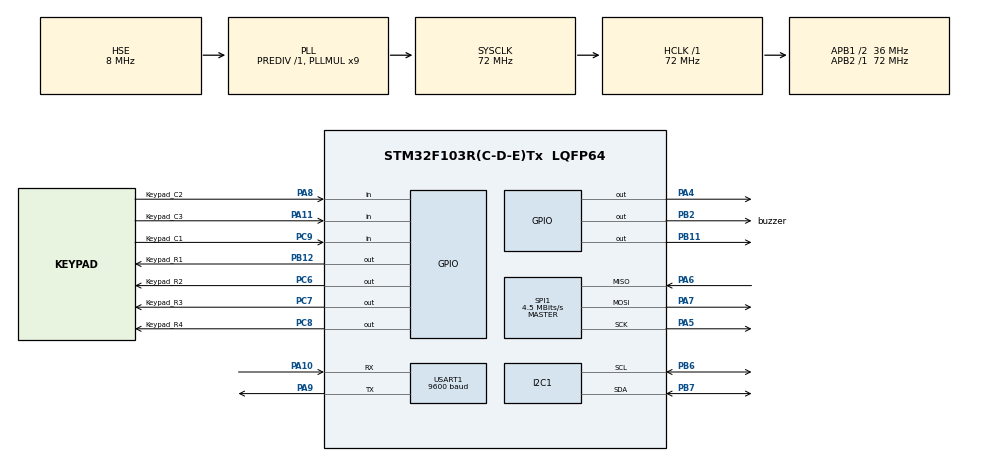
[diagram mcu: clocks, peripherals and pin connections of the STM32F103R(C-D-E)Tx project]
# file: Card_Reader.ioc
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Mcu.Family=STM32F1
Mcu.Name=STM32F103R(C-D-E)Tx
Mcu.Package=LQFP64
NVIC.PriorityGroup=NVIC_PRIORITYGROUP_4
NVIC.TIM4_IRQn=true\:0\:0\:false\:false\:true\:true\:true
NVIC.TIM5_IRQn=true\:0\:0\:false\:false\:true\:true\:true
NVIC.TIM6_IRQn=true\:0\:0\:false\:false\:true\:true\:true
NVIC.TIM7_IRQn=true\:0\:0\:false\:false\:true\:true\:true
PA10.Mode=Asynchronous
PA10.Signal=USART1_RX
PA11.GPIO_Label=Keypad_C3
PA11.GPIO_PuPd=GPIO_PULLUP
PA11.Signal=GPIO_Input
PA13.Mode=JTAG_5_pins
PA13.Signal=SYS_JTMS-SWDIO
PA14.Mode=JTAG_5_pins
PA14.Signal=SYS_JTCK-SWCLK
PA15.Mode=JTAG_5_pins
PA15.Signal=SYS_JTDI
PA4.GPIO_PuPd=GPIO_PULLUP
PA4.GPIO_Speed=GPIO_SPEED_FREQ_HIGH
PA4.Signal=GPIO_Output
PA5.Mode=Full_Duplex_Master
PA5.Signal=SPI1_SCK
PA6.Mode=Full_Duplex_Master
PA6.Signal=SPI1_MISO
PA7.Mode=Full_Duplex_Master
PA7.Signal=SPI1_MOSI
PA8.GPIO_Label=Keypad_C2
PA8.GPIO_PuPd=GPIO_PULLUP
PA8.Signal=GPIO_Input
PA9.Mode=Asynchronous
PA9.Signal=USART1_TX
PB11.Signal=GPIO_Output
PB12.GPIO_Label=Keypad_R1
PB12.GPIO_PuPd=GPIO_PULLUP
PB12.GPIO_Speed=GPIO_SPEED_FREQ_HIGH
PB12.PinState=GPIO_PIN_RESET
PB12.Signal=GPIO_Output
PB2.GPIO_Label=buzzer
PB2.GPIO_PuPd=GPIO_PULLDOWN
PB2.Signal=GPIO_Output
PB3.Mode=JTAG_5_pins
PB3.Signal=SYS_JTDO-TRACESWO
PB4.Mode=JTAG_5_pins
PB4.Signal=SYS_NJTRST
PB6.Mode=I2C
PB6.Signal=I2C1_SCL
PB7.Mode=I2C
PB7.Signal=I2C1_SDA
PC6.GPIO_Label=Keypad_R2
PC6.GPIO_PuPd=GPIO_PULLUP
PC6.GPIO_Speed=GPIO_SPEED_FREQ_HIGH
PC6.Signal=GPIO_Output
PC7.GPIO_Label=Keypad_R3
PC7.GPIO_PuPd=GPIO_PULLUP
PC7.GPIO_Speed=GPIO_SPEED_FREQ_HIGH
PC7.Signal=GPIO_Output
PC8.GPIO_Label=Keypad_R4
PC8.GPIO_PuPd=GPIO_PULLUP
PC8.GPIO_Speed=GPIO_SPEED_FREQ_HIGH
PC8.Signal=GPIO_Output
PC9.GPIO_Label=Keypad_C1
PC9.GPIO_PuPd=GPIO_PULLUP
PC9.Signal=GPIO_Input
PD0-OSC_IN.Mode=HSE-External-Oscillator
PD0-OSC_IN.Signal=RCC_OSC_IN
PD1-OSC_OUT.Mode=HSE-External-Oscillator
PD1-OSC_OUT.Signal=RCC_OSC_OUT
ProjectManager.HeapSize=0x200
ProjectManager.StackSize=0x400
ProjectManager.TargetToolchain=STM32CubeIDE
RCC.AHBFreq_Value=72000000
RCC.APB1CLKDivider=RCC_HCLK_DIV2
RCC.APB1Freq_Value=36000000
RCC.APB1TimFreq_Value=72000000
RCC.APB2Freq_Value=72000000
RCC.APB2TimFreq_Value=72000000
RCC.HCLKFreq_Value=72000000
RCC.PLLMUL=RCC_PLL_MUL9
RCC.PLLSourceVirtual=RCC_PLLSOURCE_HSE
RCC.SYSCLKFreq_VALUE=72000000
RCC.SYSCLKSource=RCC_SYSCLKSOURCE_PLLCLK
RCC.USBFreq_Value=72000000
RTC.Date=25
RTC.Format=RTC_FORMAT_BIN
RTC.Hours=22
RTC.Minutes=11
RTC.Month=RTC_MONTH_DECEMBER
RTC.Seconds=5
RTC.WeekDay=RTC_WEEKDAY_THURSDAY
RTC.Year=19
SPI1.BaudRatePrescaler=SPI_BAUDRATEPRESCALER_16
SPI1.CalculateBaudRate=4.5 MBits/s
SPI1.Direction=SPI_DIRECTION_2LINES
SPI1.Mode=SPI_MODE_MASTER
SPI1.VirtualType=VM_MASTER
TIM4.Period=1000
TIM4.Prescaler=7200
TIM5.Period=6000
TIM5.Prescaler=7200
TIM6.Period=21000
TIM6.Prescaler=7200
TIM7.Period=12000
TIM7.Prescaler=7200
USART1.BaudRate=9600
USART1.VirtualMode=VM_ASYNC
VP_RTC_VS_RTC_Activate.Mode=RTC_Enabled
VP_RTC_VS_RTC_Calendar.Mode=RTC_Calendar
VP_TIM4_VS_ClockSourceINT.Mode=Internal
VP_TIM5_VS_ClockSourceINT.Mode=Internal
VP_TIM6_VS_ClockSourceINT.Mode=Enable_Timer
VP_TIM7_VS_ClockSourceINT.Mode=Enable_Timer
board=custom

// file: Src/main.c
/* USER CODE BEGIN Header */
/**
  ******************************************************************************
  * @file           : main.c
  * @brief          : Main program body
  ******************************************************************************
  * @attention
  *
  * <h2><center>&copy; Copyright (c) 2019 STMicroelectronics.
  * All rights reserved.</center></h2>
  *
  * This software component is licensed by ST under BSD 3-Clause license,
  * the "License"; You may not use this file except in compliance with the
  * License. You may obtain a copy of the License at:
  *                        opensource.org/licenses/BSD-3-Clause
  *
  ******************************************************************************
  */
/* USER CODE END Header */

#include "main.h"

/* USER CODE BEGIN Includes */
#include "i2c-lcd.h"
#include "stm32f1xx_hal.h"
#include "rc522.h"
#include <string.h>
#include <stdio.h>
/* USER CODE END Includes */

/* USER CODE BEGIN PD */
#define R1_PORT Keypad_R1_GPIO_Port
#define R1_PIN Keypad_R1_Pin
#define R2_PORT Keypad_R2_GPIO_Port
#define R2_PIN Keypad_R2_Pin
#define R3_PORT Keypad_R3_GPIO_Port
#define R3_PIN Keypad_R3_Pin
#define R4_PORT Keypad_R4_GPIO_Port
#define R4_PIN Keypad_R4_Pin
#define C1_PORT Keypad_C1_GPIO_Port
#define C1_PIN Keypad_C1_Pin
#define C2_PORT Keypad_C2_GPIO_Port
#define C2_PIN Keypad_C2_Pin
#define C3_PORT Keypad_C3_GPIO_Port
#define C3_PIN Keypad_C3_Pin

/* USER CODE END PD */

I2C_HandleTypeDef hi2c1;

RTC_HandleTypeDef hrtc;

SPI_HandleTypeDef hspi1;

TIM_HandleTypeDef htim4;
TIM_HandleTypeDef htim5;
TIM_HandleTypeDef htim6;
TIM_HandleTypeDef htim7;

UART_HandleTypeDef huart1;

/* USER CODE BEGIN PV */

uint8_t MFRC522_Check(uint8_t* id);
uint8_t MFRC522_Compare(uint8_t* CardID, uint8_t* CompareID);
void MFRC522_WriteRegister(uint8_t addr, uint8_t val);
uint8_t MFRC522_ReadRegister(uint8_t addr);
void MFRC522_SetBitMask(uint8_t reg, uint8_t mask);
void MFRC522_ClearBitMask(uint8_t reg, uint8_t mask);
uint8_t MFRC522_Request(uint8_t reqMode, uint8_t* TagType);
uint8_t MFRC522_ToCard(uint8_t command, uint8_t* sendData, uint8_t sendLen, uint8_t* backData, uint16_t* backLen);
uint8_t MFRC522_Anticoll(uint8_t* serNum);
void MFRC522_CalulateCRC(uint8_t* pIndata, uint8_t len, uint8_t* pOutData);
uint8_t MFRC522_SelectTag(uint8_t* serNum);
uint8_t MFRC522_Auth(uint8_t authMode, uint8_t BlockAddr, uint8_t* Sectorkey, uint8_t* serNum);
uint8_t MFRC522_Read(uint8_t blockAddr, uint8_t* recvData);
uint8_t MFRC522_Write(uint8_t blockAddr, uint8_t* writeData);
void MFRC522_Init(void);
void MFRC522_Reset(void);
void MFRC522_AntennaOn(void);
void MFRC522_AntennaOff(void);
void MFRC522_Halt(void);

/* USER CODE END PV */

void SystemClock_Config(void);
static void MX_GPIO_Init(void);
static void MX_I2C1_Init(void);
static void MX_SPI1_Init(void);
static void MX_RTC_Init(void);
static void MX_TIM4_Init(void);
static void MX_TIM5_Init(void);
static void MX_TIM6_Init(void);
static void MX_TIM7_Init(void);
static void MX_USART1_UART_Init(void);

/* USER CODE BEGIN 0 */

uint8_t key1_test=0;
uint8_t key1=0;
uint8_t key2=0;
uint8_t birakma_flag1 =1;
uint8_t birakma_flag1_flag =0;
uint8_t buton_Deneme=0;
uint8_t ekranayazma(uint8_t datacevir);

uint8_t sifre[]={2,5,8,0,9,6};
uint8_t sifre_lenght=(sizeof(sifre)/sizeof(uint8_t));
uint8_t sifre_test[15];
uint8_t girilentus=0;
uint8_t sifrebitir=0;

void open_door (void);
void close_door(void);
void right_pasword(void);
void wrong_pasword(void);
char read_keypad (void);

uint8_t rfid_flag=1;
unsigned char CardID[5];

RTC_TimeTypeDef sTime;
RTC_DateTypeDef DateToUpdate;

uint16_t gun,ay,yil,saat,dakika,saniye;
char Time_buffer[8];
char line1_buffer[16];
char usart_buffer[50];
uint8_t usart_buffer1[50];

struct kullanici{
unsigned char RFID[5];
char Name[15];
char Surname[15];
char Time[8];
};

/* USER CODE END 0 */

int main(void)
{
  /* USER CODE BEGIN 1 */
struct kullanici kimlik1;

kimlik2.RFID[0]=0x24;
kimlik2.RFID[1]=0x0B;
kimlik2.RFID[2]=0xFF;
kimlik2.RFID[3]=0x62;
kimlik2.RFID[4]=0x7C;
strcpy(kimlik2.Name,"Eren");
strcpy(kimlik2.Surname , "Kaplan");

  /* USER CODE END 1 */

  /* MCU Configuration--------------------------------------------------------*/

  /* Reset of all peripherals, Initializes the Flash interface and the Systick. */
  HAL_Init();

  /* Configure the system clock */
  SystemClock_Config();

  /* Initialize all configured peripherals */
  MX_GPIO_Init();
  MX_I2C1_Init();
  MX_SPI1_Init();
  MX_RTC_Init();
  MX_TIM4_Init();
  MX_TIM5_Init();
  MX_TIM6_Init();
  MX_TIM7_Init();
  MX_USART1_UART_Init();
  /* USER CODE BEGIN 2 */
	MFRC522_Init();
  lcd_init();
	HAL_TIM_Base_Start_IT(&htim4);
  HAL_TIM_Base_Start_IT(&htim5);
	HAL_TIM_Base_Start_IT(&htim7);
	HAL_TIM_Base_Start_IT(&htim6);
	HAL_TIM_Base_Stop(&htim4);
	HAL_TIM_Base_Stop(&htim5);
	HAL_TIM_Base_Stop(&htim7);
	HAL_TIM_Base_Stop(&htim6);

  lcd_send_cmd (0x80|0x00);
  lcd_send_string("Password or Card");

	lcd_send_cmd (0x80|0x40);
  lcd_send_string("PW:");

	HAL_GPIO_WritePin(GPIOB,GPIO_PIN_11,GPIO_PIN_SET);

  /* USER CODE END 2 */

  /* Infinite loop */
  while (1)
  {

    /* USER CODE BEGIN 3 */
if (MFRC522_Check(CardID) == MI_OK)
	{

	if (MFRC522_Compare(CardID, kimlik1.RFID) == MI_OK && rfid_flag==1)
		{

	HAL_RTC_GetTime(&hrtc, &sTime, RTC_FORMAT_BIN);
	HAL_RTC_GetDate(&hrtc, &DateToUpdate, RTC_FORMAT_BIN);

	sprintf(Time_buffer,"%2d/%2d/%2d",sTime.Hours,sTime.Minutes,sTime.Seconds);
  strcpy(kimlik1.Time,Time_buffer);

	sprintf(line1_buffer,"%s %s",kimlik1.Name,kimlik1.Surname);
	lcd_send_cmd (0x80|0x00);
  lcd_send_string("                ");
	lcd_send_cmd (0x80|0x00);
  lcd_send_string(line1_buffer);
	lcd_send_cmd (0x80|0x40);
  lcd_send_string("                ");
	lcd_send_cmd (0x80|0x40);
  lcd_send_string("    WELCOME");

	sprintf(usart_buffer,"%s %s %s\n",kimlik1.Time,kimlik1.Name,kimlik1.Surname);
	for(int i=0;i<=sizeof(usart_buffer);i++){
	usart_buffer1[i]=usart_buffer[i];
	}
  HAL_UART_Transmit(&huart1,usart_buffer1,sizeof(usart_buffer),100);

	rfid_flag=0;
	open_door();
	}

else if  (rfid_flag==1)
	{
	rfid_flag=0;
	lcd_send_cmd (0x80|0x00);
  lcd_send_string("                ");
	lcd_send_cmd (0x80|0x00);
  lcd_send_string(" Undefined Card");
	close_door();
	lcd_send_cmd (0x80|0x40);
  lcd_send_string("                ");
	HAL_TIM_Base_Start(&htim6);
	HAL_TIM_Base_Stop(&htim5);
	}
		}
if(CardID[0]== 0x00){
	rfid_flag=1;
		}
  HAL_Delay(1);

		//2.  KOD

	key1_test=read_keypad();   //tus birakma kontrol
if(key1_test!=0x00 && birakma_flag1_flag == 0){
	HAL_TIM_Base_Start(&htim4);
	HAL_GPIO_WritePin(buzzer_GPIO_Port,buzzer_Pin,GPIO_PIN_SET);
	birakma_flag1_flag =1;
		}
if(birakma_flag1 == 0 && key1_test == 0x00){
	birakma_flag1=1;
	buton_Deneme=1;
	birakma_flag1_flag = 0;
		}
if(key1_test != 0x00 ){
	key1=key1_test;
	key2=ekranayazma(key1);
		}
if(birakma_flag1==1 && key1 == 11 && buton_Deneme == 1)
		{
	buton_Deneme=0;
if(girilentus !=0){
	girilentus--;
		}
for(int i=girilentus; i<=14; i++)
{
	sifre_test[i]=0;
		}
	lcd_send_cmd (0x80|0x44+girilentus);
  lcd_send_string("  ");
	  }
if(birakma_flag1==1 && key1 == 12 && buton_Deneme == 1)
		{
	sifrebitir=1;
		}
if(birakma_flag1==1 && buton_Deneme == 1){
	buton_Deneme=0;
if(key1 == 10 || key1 == 1 || key1 == 2|| key1 == 3 || key1 == 4 || key1 == 5|| key1 == 6 || key1 == 7 || key1 == 8 || key1 == 9){
	sifre_test[girilentus]=key1%10;
	girilentus++;
if(girilentus==1){
	lcd_send_cmd (0x80|0x40);
	lcd_send_string("PW:               ");
		}
	lcd_send_cmd (0x80|0x43+girilentus);
  lcd_send_data(ekranayazma(sifre_test[girilentus-1]));
		}
if(sifrebitir==1){
	sifrebitir=0;
 if(girilentus !=sifre_lenght)
		{
	girilentus=0;
	wrong_pasword();
for(int k=0; k<=14;k++){
	sifre_test[k]=0;
		}
		 }
 else
		{
	girilentus=0;
for(int i=0;i<=sifre_lenght-1;i++){
	if(sifre[i]!=sifre_test[i]){
	wrong_pasword();
for(int k=0; k<=14;k++){
	sifre_test[k]=0;
		}
	i=100;
		}
if(i==sifre_lenght-1){
	right_pasword();
for(int k=0; k<=14;k++){
	sifre_test[k]=0;
			}
				}
					}
				    }
		         	}
		            }
                 }
  /* USER CODE END 3 */
}

void SystemClock_Config(void)
{
  RCC_OscInitTypeDef RCC_OscInitStruct = {0};
  RCC_ClkInitTypeDef RCC_ClkInitStruct = {0};
  RCC_PeriphCLKInitTypeDef PeriphClkInit = {0};

  /** Initializes the CPU, AHB and APB busses clocks
  */
  RCC_OscInitStruct.OscillatorType = RCC_OSCILLATORTYPE_LSI|RCC_OSCILLATORTYPE_HSE;
  RCC_OscInitStruct.HSEState = RCC_HSE_ON;
  RCC_OscInitStruct.HSEPredivValue = RCC_HSE_PREDIV_DIV1;
  RCC_OscInitStruct.HSIState = RCC_HSI_ON;
  RCC_OscInitStruct.LSIState = RCC_LSI_ON;
  RCC_OscInitStruct.PLL.PLLState = RCC_PLL_ON;
  RCC_OscInitStruct.PLL.PLLSource = RCC_PLLSOURCE_HSE;
  RCC_OscInitStruct.PLL.PLLMUL = RCC_PLL_MUL9;
  if (HAL_RCC_OscConfig(&RCC_OscInitStruct) != HAL_OK)
  {
    Error_Handler();
  }
  /** Initializes the CPU, AHB and APB busses clocks
  */
  RCC_ClkInitStruct.ClockType = RCC_CLOCKTYPE_HCLK|RCC_CLOCKTYPE_SYSCLK
                              |RCC_CLOCKTYPE_PCLK1|RCC_CLOCKTYPE_PCLK2;
  RCC_ClkInitStruct.SYSCLKSource = RCC_SYSCLKSOURCE_PLLCLK;
  RCC_ClkInitStruct.AHBCLKDivider = RCC_SYSCLK_DIV1;
  RCC_ClkInitStruct.APB1CLKDivider = RCC_HCLK_DIV2;
  RCC_ClkInitStruct.APB2CLKDivider = RCC_HCLK_DIV1;

  if (HAL_RCC_ClockConfig(&RCC_ClkInitStruct, FLASH_LATENCY_2) != HAL_OK)
  {
    Error_Handler();
  }
  PeriphClkInit.PeriphClockSelection = RCC_PERIPHCLK_RTC;
  PeriphClkInit.RTCClockSelection = RCC_RTCCLKSOURCE_LSI;
  if (HAL_RCCEx_PeriphCLKConfig(&PeriphClkInit) != HAL_OK)
  {
    Error_Handler();
  }
}

static void MX_I2C1_Init(void)
{

  hi2c1.Instance = I2C1;
  hi2c1.Init.ClockSpeed = 100000;
  hi2c1.Init.DutyCycle = I2C_DUTYCYCLE_2;
  hi2c1.Init.OwnAddress1 = 0;
  hi2c1.Init.AddressingMode = I2C_ADDRESSINGMODE_7BIT;
  hi2c1.Init.DualAddressMode = I2C_DUALADDRESS_DISABLE;
  hi2c1.Init.OwnAddress2 = 0;
  hi2c1.Init.GeneralCallMode = I2C_GENERALCALL_DISABLE;
  hi2c1.Init.NoStretchMode = I2C_NOSTRETCH_DISABLE;
  if (HAL_I2C_Init(&hi2c1) != HAL_OK)
  {
    Error_Handler();
  }

}

static void MX_RTC_Init(void)
{

  RTC_TimeTypeDef sTime = {0};
  RTC_DateTypeDef DateToUpdate = {0};

  /** Initialize RTC Only
  */
  hrtc.Instance = RTC;
  hrtc.Init.AsynchPrediv = RTC_AUTO_1_SECOND;
  hrtc.Init.OutPut = RTC_OUTPUTSOURCE_ALARM;
  if (HAL_RTC_Init(&hrtc) != HAL_OK)
  {
    Error_Handler();
  }

  /* USER CODE BEGIN Check_RTC_BKUP */
if(HAL_RTCEx_BKUPRead(&hrtc, RTC_BKP_DR1)== 0x32F2){
  return;
}
  /* USER CODE END Check_RTC_BKUP */

  /** Initialize RTC and set the Time and Date
  */
  sTime.Hours = 22;
  sTime.Minutes = 11;
  sTime.Seconds = 5;

  if (HAL_RTC_SetTime(&hrtc, &sTime, RTC_FORMAT_BIN) != HAL_OK)
  {
    Error_Handler();
  }
  DateToUpdate.WeekDay = RTC_WEEKDAY_THURSDAY;
  DateToUpdate.Month = RTC_MONTH_DECEMBER;
  DateToUpdate.Date = 25;
  DateToUpdate.Year = 19;

  if (HAL_RTC_SetDate(&hrtc, &DateToUpdate, RTC_FORMAT_BIN) != HAL_OK)
  {
    Error_Handler();
  }
  /* USER CODE BEGIN RTC_Init 2 */
HAL_RTCEx_BKUPWrite(&hrtc, RTC_BKP_DR1, 0x32F2);
  /* USER CODE END RTC_Init 2 */

}

static void MX_SPI1_Init(void)
{

  /* SPI1 parameter configuration*/
  hspi1.Instance = SPI1;
  hspi1.Init.Mode = SPI_MODE_MASTER;
  hspi1.Init.Direction = SPI_DIRECTION_2LINES;
  hspi1.Init.DataSize = SPI_DATASIZE_8BIT;
  hspi1.Init.CLKPolarity = SPI_POLARITY_LOW;
  hspi1.Init.CLKPhase = SPI_PHASE_1EDGE;
  hspi1.Init.NSS = SPI_NSS_SOFT;
  hspi1.Init.BaudRatePrescaler = SPI_BAUDRATEPRESCALER_16;
  hspi1.Init.FirstBit = SPI_FIRSTBIT_MSB;
  hspi1.Init.TIMode = SPI_TIMODE_DISABLE;
  hspi1.Init.CRCCalculation = SPI_CRCCALCULATION_DISABLE;
  hspi1.Init.CRCPolynomial = 10;
  if (HAL_SPI_Init(&hspi1) != HAL_OK)
  {
    Error_Handler();
  }

}

static void MX_TIM4_Init(void)
{

  TIM_ClockConfigTypeDef sClockSourceConfig = {0};
  TIM_MasterConfigTypeDef sMasterConfig = {0};

  htim4.Instance = TIM4;
  htim4.Init.Prescaler = 7200;
  htim4.Init.CounterMode = TIM_COUNTERMODE_UP;
  htim4.Init.Period = 1000;
  htim4.Init.ClockDivision = TIM_CLOCKDIVISION_DIV1;
  htim4.Init.AutoReloadPreload = TIM_AUTORELOAD_PRELOAD_DISABLE;
  if (HAL_TIM_Base_Init(&htim4) != HAL_OK)
  {
    Error_Handler();
  }
  sClockSourceConfig.ClockSource = TIM_CLOCKSOURCE_INTERNAL;
  if (HAL_TIM_ConfigClockSource(&htim4, &sClockSourceConfig) != HAL_OK)
  {
    Error_Handler();
  }
  sMasterConfig.MasterOutputTrigger = TIM_TRGO_RESET;
  sMasterConfig.MasterSlaveMode = TIM_MASTERSLAVEMODE_DISABLE;
  if (HAL_TIMEx_MasterConfigSynchronization(&htim4, &sMasterConfig) != HAL_OK)
  {
    Error_Handler();
  }
  /* USER CODE BEGIN TIM4_Init 2 */
HAL_TIM_Base_Stop(&htim4);
  /* USER CODE END TIM4_Init 2 */

}

static void MX_TIM5_Init(void)
{

  TIM_ClockConfigTypeDef sClockSourceConfig = {0};
  TIM_MasterConfigTypeDef sMasterConfig = {0};

  htim5.Instance = TIM5;
  htim5.Init.Prescaler = 7200;
  htim5.Init.CounterMode = TIM_COUNTERMODE_UP;
  htim5.Init.Period = 6000;
  htim5.Init.ClockDivision = TIM_CLOCKDIVISION_DIV1;
  htim5.Init.AutoReloadPreload = TIM_AUTORELOAD_PRELOAD_DISABLE;
  if (HAL_TIM_Base_Init(&htim5) != HAL_OK)
  {
    Error_Handler();
  }
  sClockSourceConfig.ClockSource = TIM_CLOCKSOURCE_INTERNAL;
  if (HAL_TIM_ConfigClockSource(&htim5, &sClockSourceConfig) != HAL_OK)
  {
    Error_Handler();
  }
  sMasterConfig.MasterOutputTrigger = TIM_TRGO_RESET;
  sMasterConfig.MasterSlaveMode = TIM_MASTERSLAVEMODE_DISABLE;
  if (HAL_TIMEx_MasterConfigSynchronization(&htim5, &sMasterConfig) != HAL_OK)
  {
    Error_Handler();
  }
  /* USER CODE BEGIN TIM5_Init 2 */
  HAL_TIM_Base_Stop(&htim5);
  /* USER CODE END TIM5_Init 2 */

}

static void MX_TIM6_Init(void)
{

  TIM_MasterConfigTypeDef sMasterConfig = {0};

  htim6.Instance = TIM6;
  htim6.Init.Prescaler = 7200;
  htim6.Init.CounterMode = TIM_COUNTERMODE_UP;
  htim6.Init.Period = 21000;
  htim6.Init.AutoReloadPreload = TIM_AUTORELOAD_PRELOAD_DISABLE;
  if (HAL_TIM_Base_Init(&htim6) != HAL_OK)
  {
    Error_Handler();
  }
  sMasterConfig.MasterOutputTrigger = TIM_TRGO_RESET;
  sMasterConfig.MasterSlaveMode = TIM_MASTERSLAVEMODE_DISABLE;
  if (HAL_TIMEx_MasterConfigSynchronization(&htim6, &sMasterConfig) != HAL_OK)
  {
    Error_Handler();
  }

}

static void MX_TIM7_Init(void)
{

  TIM_MasterConfigTypeDef sMasterConfig = {0};

  htim7.Instance = TIM7;
  htim7.Init.Prescaler = 7200;
  htim7.Init.CounterMode = TIM_COUNTERMODE_UP;
  htim7.Init.Period = 12000;
  htim7.Init.AutoReloadPreload = TIM_AUTORELOAD_PRELOAD_DISABLE;
  if (HAL_TIM_Base_Init(&htim7) != HAL_OK)
  {
    Error_Handler();
  }
  sMasterConfig.MasterOutputTrigger = TIM_TRGO_RESET;
  sMasterConfig.MasterSlaveMode = TIM_MASTERSLAVEMODE_DISABLE;
  if (HAL_TIMEx_MasterConfigSynchronization(&htim7, &sMasterConfig) != HAL_OK)
  {
    Error_Handler();
  }

}

static void MX_USART1_UART_Init(void)
{

  huart1.Instance = USART1;
  huart1.Init.BaudRate = 9600;
  huart1.Init.WordLength = UART_WORDLENGTH_8B;
  huart1.Init.StopBits = UART_STOPBITS_1;
  huart1.Init.Parity = UART_PARITY_NONE;
  huart1.Init.Mode = UART_MODE_TX_RX;
  huart1.Init.HwFlowCtl = UART_HWCONTROL_NONE;
  huart1.Init.OverSampling = UART_OVERSAMPLING_16;
  if (HAL_UART_Init(&huart1) != HAL_OK)
  {
    Error_Handler();
  }

}

static void MX_GPIO_Init(void)
{
  GPIO_InitTypeDef GPIO_InitStruct = {0};

  /* GPIO Ports Clock Enable */
  __HAL_RCC_GPIOD_CLK_ENABLE();
  __HAL_RCC_GPIOA_CLK_ENABLE();
  __HAL_RCC_GPIOB_CLK_ENABLE();
  __HAL_RCC_GPIOC_CLK_ENABLE();

  /*Configure GPIO pin Output Level */
  HAL_GPIO_WritePin(GPIOA, GPIO_PIN_4, GPIO_PIN_RESET);

  /*Configure GPIO pin Output Level */
  HAL_GPIO_WritePin(GPIOB, buzzer_Pin|GPIO_PIN_11|Keypad_R1_Pin, GPIO_PIN_RESET);

  /*Configure GPIO pin Output Level */
  HAL_GPIO_WritePin(GPIOC, Keypad_R2_Pin|Keypad_R3_Pin|Keypad_R4_Pin, GPIO_PIN_RESET);

  /*Configure GPIO pin : PA4 */
  GPIO_InitStruct.Pin = GPIO_PIN_4;
  GPIO_InitStruct.Mode = GPIO_MODE_OUTPUT_PP;
  GPIO_InitStruct.Pull = GPIO_PULLUP;
  GPIO_InitStruct.Speed = GPIO_SPEED_FREQ_HIGH;
  HAL_GPIO_Init(GPIOA, &GPIO_InitStruct);

  /*Configure GPIO pin : buzzer_Pin */
  GPIO_InitStruct.Pin = buzzer_Pin;
  GPIO_InitStruct.Mode = GPIO_MODE_OUTPUT_PP;
  GPIO_InitStruct.Pull = GPIO_PULLDOWN;
  GPIO_InitStruct.Speed = GPIO_SPEED_FREQ_LOW;
  HAL_GPIO_Init(buzzer_GPIO_Port, &GPIO_InitStruct);

  /*Configure GPIO pin : PB11 */
  GPIO_InitStruct.Pin = GPIO_PIN_11;
  GPIO_InitStruct.Mode = GPIO_MODE_OUTPUT_PP;
  GPIO_InitStruct.Pull = GPIO_NOPULL;
  GPIO_InitStruct.Speed = GPIO_SPEED_FREQ_LOW;
  HAL_GPIO_Init(GPIOB, &GPIO_InitStruct);

  /*Configure GPIO pin : Keypad_R1_Pin */
  GPIO_InitStruct.Pin = Keypad_R1_Pin;
  GPIO_InitStruct.Mode = GPIO_MODE_OUTPUT_PP;
  GPIO_InitStruct.Pull = GPIO_PULLUP;
  GPIO_InitStruct.Speed = GPIO_SPEED_FREQ_HIGH;
  HAL_GPIO_Init(Keypad_R1_GPIO_Port, &GPIO_InitStruct);

  /*Configure GPIO pins : Keypad_R2_Pin Keypad_R3_Pin Keypad_R4_Pin */
  GPIO_InitStruct.Pin = Keypad_R2_Pin|Keypad_R3_Pin|Keypad_R4_Pin;
  GPIO_InitStruct.Mode = GPIO_MODE_OUTPUT_PP;
  GPIO_InitStruct.Pull = GPIO_PULLUP;
  GPIO_InitStruct.Speed = GPIO_SPEED_FREQ_HIGH;
  HAL_GPIO_Init(GPIOC, &GPIO_InitStruct);

  /*Configure GPIO pin : Keypad_C1_Pin */
  GPIO_InitStruct.Pin = Keypad_C1_Pin;
  GPIO_InitStruct.Mode = GPIO_MODE_INPUT;
  GPIO_InitStruct.Pull = GPIO_PULLUP;
  HAL_GPIO_Init(Keypad_C1_GPIO_Port, &GPIO_InitStruct);

  /*Configure GPIO pins : Keypad_C2_Pin Keypad_C3_Pin */
  GPIO_InitStruct.Pin = Keypad_C2_Pin|Keypad_C3_Pin;
  GPIO_InitStruct.Mode = GPIO_MODE_INPUT;
  GPIO_InitStruct.Pull = GPIO_PULLUP;
  HAL_GPIO_Init(GPIOA, &GPIO_InitStruct);

}

/* USER CODE BEGIN 4 */
void right_pasword(void){
	HAL_GPIO_WritePin(GPIOB,GPIO_PIN_11,GPIO_PIN_RESET);

  lcd_send_cmd (0x80|0x00);
  lcd_send_string("                ");
	lcd_send_cmd (0x80|0x00);
  lcd_send_string("Correct Password");
	lcd_send_cmd (0x80|0x40);
  lcd_send_string("                ");
	HAL_GPIO_WritePin(buzzer_GPIO_Port,buzzer_Pin,GPIO_PIN_SET);
	HAL_TIM_Base_Start(&htim6);
  HAL_TIM_Base_Start(&htim5);

	HAL_RTC_GetTime(&hrtc, &sTime, RTC_FORMAT_BIN);

	sprintf(usart_buffer,"%2d/%2d/%2d Correct Pasword\n",sTime.Hours,sTime.Minutes,sTime.Seconds);
	for(int i=0;i<=sizeof(usart_buffer);i++){
	usart_buffer1[i]=usart_buffer[i];
	}
  HAL_UART_Transmit(&huart1,usart_buffer1,sizeof(usart_buffer),100);
}
void wrong_pasword(void){
	HAL_GPIO_WritePin(GPIOB,GPIO_PIN_11,GPIO_PIN_SET);

	lcd_send_cmd (0x80|0x00);
  lcd_send_string("                ");
	lcd_send_cmd (0x80|0x00);
  lcd_send_string(" Wrong Password");
	lcd_send_cmd (0x80|0x40);
  lcd_send_string("                ");

	HAL_TIM_Base_Start(&htim7);
	HAL_TIM_Base_Start(&htim6);
	HAL_GPIO_WritePin(buzzer_GPIO_Port,buzzer_Pin,GPIO_PIN_SET);

	HAL_RTC_GetTime(&hrtc, &sTime, RTC_FORMAT_BIN);
	HAL_RTC_GetDate(&hrtc, &DateToUpdate, RTC_FORMAT_BIN);
	sprintf(usart_buffer,"%2d/%2d/%2d Wrong Pasword\n",sTime.Hours,sTime.Minutes,sTime.Seconds);
	for(int i=0;i<=sizeof(usart_buffer);i++){
	usart_buffer1[i]=usart_buffer[i];
	}
  HAL_UART_Transmit(&huart1,usart_buffer1,sizeof(usart_buffer),100);
}
void open_door (void){
	HAL_TIM_Base_Start(&htim6);
  HAL_GPIO_WritePin(GPIOB,GPIO_PIN_11,GPIO_PIN_RESET);

	HAL_TIM_Base_Start(&htim5);
	HAL_GPIO_WritePin(buzzer_GPIO_Port,buzzer_Pin,GPIO_PIN_SET);

	for(int i=0; i<=14; i++)
	{
	 sifre_test[i]=0;
	}
	girilentus=0;
}

void close_door(void){

HAL_GPIO_WritePin(GPIOB,GPIO_PIN_11,GPIO_PIN_SET);
HAL_TIM_Base_Start(&htim7);
HAL_GPIO_WritePin(buzzer_GPIO_Port,buzzer_Pin,GPIO_PIN_SET);

	HAL_RTC_GetTime(&hrtc, &sTime, RTC_FORMAT_BIN);
	HAL_RTC_GetDate(&hrtc, &DateToUpdate, RTC_FORMAT_BIN);
	sprintf(usart_buffer,"%2d/%2d/%2d Undefined Card\n",sTime.Hours,sTime.Minutes,sTime.Seconds);
	for(int i=0;i<=sizeof(usart_buffer);i++){
	usart_buffer1[i]=usart_buffer[i];
	}
  HAL_UART_Transmit(&huart1,usart_buffer1,sizeof(usart_buffer),100);
	for(int i=0; i<=14; i++)
	{
	sifre_test[i]=0;
	}
	girilentus=0;
}
uint8_t ekranayazma(uint8_t datacevir){

if(datacevir==1){
return '1';
}
if(datacevir==2){
return '2';
}
if(datacevir==3){
return '3';
}
	if(datacevir==4){
return '4';
}
	if(datacevir==5){
return '5';
}
	if(datacevir==6){
return '6';
}
	if(datacevir==7){
return '7';
}
	if(datacevir==8){
return '8';
}
	if(datacevir==9){
return '9';
}
	if(datacevir==0){
return '0';
}
	else
	{
	return 0;
	}
}

char read_keypad (void)
	{
	/* Make ROW 1 LOW and all other ROWs HIGH */
	HAL_GPIO_WritePin (R1_PORT, R1_PIN, GPIO_PIN_RESET);  //Pull the R1 low
	HAL_GPIO_WritePin (R2_PORT, R2_PIN, GPIO_PIN_SET);  // Pull the R2 High
	HAL_GPIO_WritePin (R3_PORT, R3_PIN, GPIO_PIN_SET);  // Pull the R3 High
	HAL_GPIO_WritePin (R4_PORT, R4_PIN, GPIO_PIN_SET);  // Pull the R4 High

	if (!(HAL_GPIO_ReadPin (C1_PORT, C1_PIN)))   // if the Col 1 is low
	{
		birakma_flag1=0;
		return 1;
	}

	if (!(HAL_GPIO_ReadPin (C2_PORT, C2_PIN)))   // if the Col 2 is low
	{
		birakma_flag1=0;
		return 2;
	}

	if (!(HAL_GPIO_ReadPin (C3_PORT, C3_PIN)))   // if the Col 3 is low
	{
		birakma_flag1=0;
		return 3;
	}

	/* Make ROW 2 LOW and all other ROWs HIGH */
	HAL_GPIO_WritePin (R1_PORT, R1_PIN, GPIO_PIN_SET);  //Pull the R1 low
	HAL_GPIO_WritePin (R2_PORT, R2_PIN, GPIO_PIN_RESET);  // Pull the R2 High
	HAL_GPIO_WritePin (R3_PORT, R3_PIN, GPIO_PIN_SET);  // Pull the R3 High
	HAL_GPIO_WritePin (R4_PORT, R4_PIN, GPIO_PIN_SET);  // Pull the R4 High

	if (!(HAL_GPIO_ReadPin (C1_PORT, C1_PIN)))   // if the Col 1 is low
	{
		birakma_flag1=0;
		return 4;
	}

	if (!(HAL_GPIO_ReadPin (C2_PORT, C2_PIN)))   // if the Col 2 is low
	{
		birakma_flag1=0;
		return 5;
	}

	if (!(HAL_GPIO_ReadPin (C3_PORT, C3_PIN)))   // if the Col 3 is low
	{
		birakma_flag1=0;
		return 6;
	}

	/* Make ROW 3 LOW and all other ROWs HIGH */
	HAL_GPIO_WritePin (R1_PORT, R1_PIN, GPIO_PIN_SET);  //Pull the R1 low
	HAL_GPIO_WritePin (R2_PORT, R2_PIN, GPIO_PIN_SET);  // Pull the R2 High
	HAL_GPIO_WritePin (R3_PORT, R3_PIN, GPIO_PIN_RESET);  // Pull the R3 High
	HAL_GPIO_WritePin (R4_PORT, R4_PIN, GPIO_PIN_SET);  // Pull the R4 High

	if (!(HAL_GPIO_ReadPin (C1_PORT, C1_PIN)))   // if the Col 1 is low
	{
		birakma_flag1=0;
		return 7;
	}

	if (!(HAL_GPIO_ReadPin (C2_PORT, C2_PIN)))   // if the Col 2 is low
	{
		birakma_flag1=0;
		return 8;
	}

	if (!(HAL_GPIO_ReadPin (C3_PORT, C3_PIN)))   // if the Col 3 is low
	{
		birakma_flag1=0;
		return 9;
	}

	/* Make ROW 4 LOW and all other ROWs HIGH */
	HAL_GPIO_WritePin (R1_PORT, R1_PIN, GPIO_PIN_SET);  //Pull the R1 low
	HAL_GPIO_WritePin (R2_PORT, R2_PIN, GPIO_PIN_SET);  // Pull the R2 High
	HAL_GPIO_WritePin (R3_PORT, R3_PIN, GPIO_PIN_SET);  // Pull the R3 High
	HAL_GPIO_WritePin (R4_PORT, R4_PIN, GPIO_PIN_RESET);  // Pull the R4 High

	if (!(HAL_GPIO_ReadPin (C1_PORT, C1_PIN)))   // if the Col 1 is low
	{
		birakma_flag1=0;
		return 11;
	}

	if (!(HAL_GPIO_ReadPin (C2_PORT, C2_PIN)))   // if the Col 2 is low
	{
		birakma_flag1=0;
		return 10;
	}

	if (!(HAL_GPIO_ReadPin (C3_PORT, C3_PIN)))   // if the Col 3 is low
	{
		birakma_flag1=0;
		return 12;
	}
	else
		return 0;
}
/* USER CODE END 4 */

void Error_Handler(void)
{
}

/************************ (C) COPYRIGHT STMicroelectronics *****END OF FILE****/
